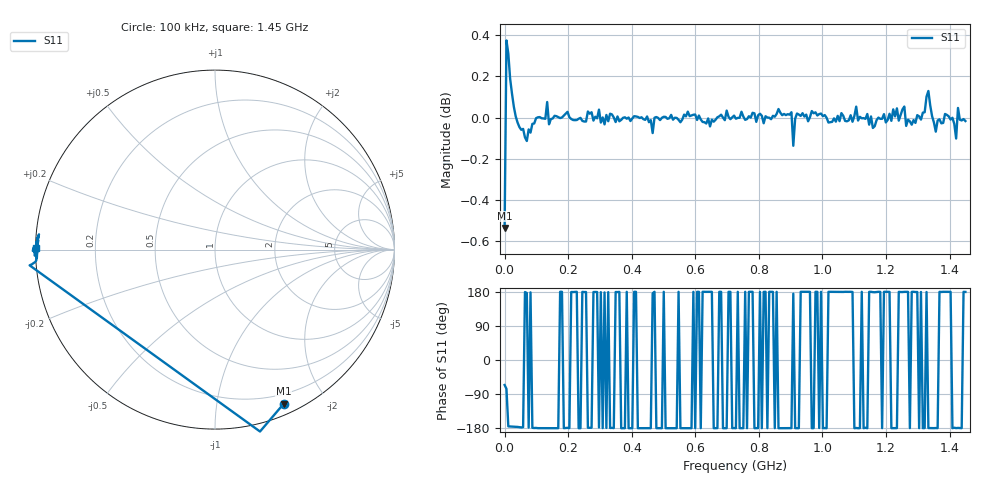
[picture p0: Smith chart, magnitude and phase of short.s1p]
! Created with skrf 1.11.0 (http://scikit-rf.org).
# Hz S RI R 50.0
!freq ReS11 ImS11
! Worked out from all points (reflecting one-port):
!   250 points, 100 kHz to 1.45 GHz, reference 50 ohm
!   lowest |S11| = -0.5 dB at 100 kHz (marker M1), VSWR 32.43, Z = 5.19 - j76.8 ohm
!   phase of S11 starts at -66 deg and turns -114 deg over the sweep
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100000  0.383 -0.8586
5922891  0.2508 -1.014
1.174578e7  -1.033 -0.0877
5.832891e7  -0.9926 -0.0459
6.997469e7  -0.9856 0.0535
7.579758e7  -0.993 -0.0293
8.162047e7  -0.9913 0.0257
8.744336e7  -0.9964 -0.0173
1.864325e8  -1.001 -0.00326
2.504843e8  -0.9977 0.0127
2.737759e8  -1.003 -0.0228
2.912446e8  -0.9996 0.0112
2.970674e8  -1.004 -0.034
3.028903e8  -0.9971 0.017
3.145361e8  -0.9958 0.0288
3.20359e8  -1.001 -0.0139
3.669421e8  -0.9987 -1e-06
4.601084e8  -0.9986 -0.000588
4.659313e8  -0.9891 0.0679
4.717542e8  -0.9999 0.000329
5.474518e8  -0.9988 0.000316
7.279614e8  -0.9994 -0.00114
9.026481e8  -1.003 -0.00376
9.08471e8  -0.9807 0.085
9.142939e8  -0.9994 -0.00423
1.088981e9  -1.001 0.00124
1.26949e9  -0.9988 0.00217
1.45e9  -0.9981 0.00659
